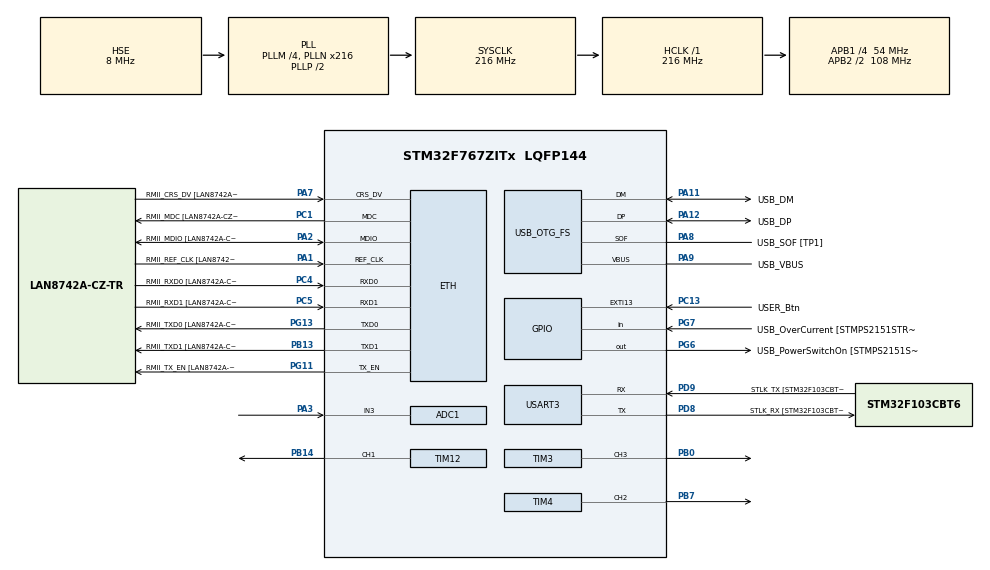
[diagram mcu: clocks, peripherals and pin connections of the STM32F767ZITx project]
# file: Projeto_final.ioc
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ADC1.Channel-0\#ChannelRegularConversion=ADC_CHANNEL_3
ADC1.NbrOfConversionFlag=1
ADC1.Rank-0\#ChannelRegularConversion=1
ADC1.SamplingTime-0\#ChannelRegularConversion=ADC_SAMPLETIME_3CYCLES
ADC1.master=1
CORTEX_M7.default_mode_Activation=1
ETH.MediaInterface=HAL_ETH_RMII_MODE
ETH.PHY_Name=LAN8742A_PHY_ADDRESS
ETH.PHY_Value=0
ETH.PhyAddress=0
Mcu.Family=STM32F7
Mcu.Name=STM32F767ZITx
Mcu.Package=LQFP144
NVIC.ADC_IRQn=true\:0\:0\:false\:false\:true\:true\:true\:true
NVIC.EXTI15_10_IRQn=true\:0\:0\:false\:false\:true\:true\:true\:true
NVIC.PriorityGroup=NVIC_PRIORITYGROUP_4
NVIC.TIM2_IRQn=true\:0\:0\:false\:false\:true\:true\:true\:true
NVIC.TIM3_IRQn=true\:0\:0\:false\:false\:true\:true\:true\:true
NVIC.TIM4_IRQn=true\:0\:0\:false\:false\:true\:true\:true\:true
NVIC.TIM6_DAC_IRQn=true\:0\:0\:false\:false\:true\:true\:true\:true
NVIC.TIM7_IRQn=true\:0\:0\:false\:false\:true\:true\:true\:true
NVIC.USART3_IRQn=true\:0\:0\:false\:false\:true\:true\:true\:true
PA1.GPIO_Label=RMII_REF_CLK [LAN8742A-CZ-TR_REFCLK0]
PA1.Mode=RMII
PA1.Signal=ETH_REF_CLK
PA10.GPIO_Label=USB_ID
PA10.Signal=USB_OTG_FS_ID
PA11.GPIO_Label=USB_DM
PA11.Mode=Device_Only
PA11.Signal=USB_OTG_FS_DM
PA12.GPIO_Label=USB_DP
PA12.Mode=Device_Only
PA12.Signal=USB_OTG_FS_DP
PA13.GPIO_Label=TMS
PA13.Mode=Serial_Wire
PA13.Signal=SYS_JTMS-SWDIO
PA14.GPIO_Label=TCK
PA14.Mode=Serial_Wire
PA14.Signal=SYS_JTCK-SWCLK
PA2.GPIO_Label=RMII_MDIO [LAN8742A-CZ-TR_MDIO]
PA2.Mode=RMII
PA2.Signal=ETH_MDIO
PA3.Signal=ADCx_IN3
PA7.GPIO_Label=RMII_CRS_DV [LAN8742A-CZ-TR_CRS_DV]
PA7.Mode=RMII
PA7.Signal=ETH_CRS_DV
PA8.GPIO_Label=USB_SOF [TP1]
PA8.Mode=Activate_SOF_FS
PA8.Signal=USB_OTG_FS_SOF
PA9.GPIO_Label=USB_VBUS
PA9.Mode=Activate_VBUS
PA9.Signal=USB_OTG_FS_VBUS
PB0.Signal=S_TIM3_CH3
PB13.GPIO_Label=RMII_TXD1 [LAN8742A-CZ-TR_TXD1]
PB13.Mode=RMII
PB13.Signal=ETH_TXD1
PB14.Signal=S_TIM12_CH1
PB3.GPIO_Label=SWO
PB3.Signal=SYS_JTDO-SWO
PB7.Signal=S_TIM4_CH2
PC1.GPIO_Label=RMII_MDC [LAN8742A-CZ-TR_MDC]
PC1.Mode=RMII
PC1.Signal=ETH_MDC
PC13.GPIO_Label=USER_Btn
PC13.Signal=GPXTI13
PC14/OSC32_IN.Mode=LSE-External-Oscillator
PC14/OSC32_IN.Signal=RCC_OSC32_IN
PC15/OSC32_OUT.Mode=LSE-External-Oscillator
PC15/OSC32_OUT.Signal=RCC_OSC32_OUT
PC4.GPIO_Label=RMII_RXD0 [LAN8742A-CZ-TR_RXD0]
PC4.Mode=RMII
PC4.Signal=ETH_RXD0
PC5.GPIO_Label=RMII_RXD1 [LAN8742A-CZ-TR_RXD1]
PC5.Mode=RMII
PC5.Signal=ETH_RXD1
PD8.GPIO_Label=STLK_RX [STM32F103CBT6_PA3]
PD8.Mode=Asynchronous
PD8.Signal=USART3_TX
PD9.GPIO_Label=STLK_TX [STM32F103CBT6_PA2]
PD9.Mode=Asynchronous
PD9.Signal=USART3_RX
PG11.GPIO_Label=RMII_TX_EN [LAN8742A-CZ-TR_TXEN]
PG11.Mode=RMII
PG11.Signal=ETH_TX_EN
PG13.GPIO_Label=RMII_TXD0 [LAN8742A-CZ-TR_TXD0]
PG13.Mode=RMII
PG13.Signal=ETH_TXD0
PG6.GPIO_Label=USB_PowerSwitchOn [STMPS2151STR_EN]
PG6.Signal=GPIO_Output
PG7.GPIO_Label=USB_OverCurrent [STMPS2151STR_FAULT]
PG7.Signal=GPIO_Input
PH0/OSC_IN.GPIO_Label=MCO [STM32F103CBT6_PA8]
PH0/OSC_IN.Mode=HSE-External-Clock-Source
PH0/OSC_IN.Signal=RCC_OSC_IN
PH1/OSC_OUT.Mode=HSE-External-Clock-Source
PH1/OSC_OUT.Signal=RCC_OSC_OUT
ProjectManager.HeapSize=0x200
ProjectManager.StackSize=0x400
ProjectManager.TargetToolchain=STM32CubeIDE
RCC.48MHZClocksFreq_Value=24000000
RCC.AHBFreq_Value=216000000
RCC.APB1CLKDivider=RCC_HCLK_DIV4
RCC.APB1Freq_Value=54000000
RCC.APB1TimFreq_Value=108000000
RCC.APB2CLKDivider=RCC_HCLK_DIV2
RCC.APB2Freq_Value=108000000
RCC.APB2TimFreq_Value=216000000
RCC.CortexFreq_Value=216000000
RCC.HCLKFreq_Value=216000000
RCC.HSE_VALUE=8000000
RCC.HSI_VALUE=16000000
RCC.PLLM=4
RCC.PLLMUL=RCC_PLL_MUL9
RCC.PLLN=216
RCC.PLLQ=9
RCC.PRESCALERUSB=RCC_USBCLKSOURCE_PLL_DIV1_5
RCC.SYSCLKFreq_VALUE=216000000
RCC.SYSCLKSource=RCC_SYSCLKSOURCE_PLLCLK
RCC.SYSCLKSourceVirtual=RCC_SYSCLKSOURCE_PLLCLK
RCC.USBFreq_Value=48000000
RCC.VCOOutputFreq_Value=432000000
SH.ADCx_IN3.0=ADC1_IN3,IN3
SH.S_TIM12_CH1.0=TIM12_CH1,PWM Generation1 CH1
SH.S_TIM3_CH3.0=TIM3_CH3,PWM Generation3 CH3
SH.S_TIM4_CH2.0=TIM4_CH2,PWM Generation2 CH2
TIM12.Channel-PWM\ Generation1\ CH1=TIM_CHANNEL_1
TIM12.Period=999
TIM12.Prescaler=215
TIM2.Period=999
TIM2.Prescaler=215
TIM3.Channel-PWM\ Generation3\ CH3=TIM_CHANNEL_3
TIM3.Period=999
TIM3.Prescaler=215
TIM4.Channel-PWM\ Generation2\ CH2=TIM_CHANNEL_2
TIM4.Period=999
TIM4.Prescaler=215
TIM6.Period=999
TIM6.Prescaler=108
TIM7.Period=999
TIM7.Prescaler=215
USART3.VirtualMode-Asynchronous=VM_ASYNC
USB_OTG_FS.VirtualMode=Device_Only
VP_TIM2_VS_ClockSourceINT.Mode=Internal
VP_TIM3_VS_ClockSourceINT.Mode=Internal
VP_TIM4_VS_ClockSourceINT.Mode=Internal
VP_TIM6_VS_ClockSourceINT.Mode=Enable_Timer
VP_TIM7_VS_ClockSourceINT.Mode=Enable_Timer
board=NUCLEO-F767ZI

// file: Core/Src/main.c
/* USER CODE BEGIN Header */
/* USER CODE END Header */
#include "main.h"
#include "string.h"

/* USER CODE BEGIN Includes */
#include <stdio.h>
#include "Bsp.h"
#include "Button.h"
#include "LedPwm.h"
#include "Sampler.h"
#include "SerialCmd.h"
/* USER CODE END Includes */

#if defined ( __ICCARM__ ) /*!< IAR Compiler */
#pragma location=0x2007c000
ETH_DMADescTypeDef  DMARxDscrTab[ETH_RX_DESC_CNT]; /* Ethernet Rx DMA Descriptors */
#pragma location=0x2007c0a0
ETH_DMADescTypeDef  DMATxDscrTab[ETH_TX_DESC_CNT]; /* Ethernet Tx DMA Descriptors */

#elif defined ( __CC_ARM )  /* MDK ARM Compiler */

__attribute__((at(0x2007c000))) ETH_DMADescTypeDef  DMARxDscrTab[ETH_RX_DESC_CNT]; /* Ethernet Rx DMA Descriptors */
__attribute__((at(0x2007c0a0))) ETH_DMADescTypeDef  DMATxDscrTab[ETH_TX_DESC_CNT]; /* Ethernet Tx DMA Descriptors */

#elif defined ( __GNUC__ ) /* GNU Compiler */

ETH_DMADescTypeDef DMARxDscrTab[ETH_RX_DESC_CNT] __attribute__((section(".RxDecripSection"))); /* Ethernet Rx DMA Descriptors */
ETH_DMADescTypeDef DMATxDscrTab[ETH_TX_DESC_CNT] __attribute__((section(".TxDecripSection")));   /* Ethernet Tx DMA Descriptors */
#endif

ETH_TxPacketConfig TxConfig;

ADC_HandleTypeDef hadc1;

ETH_HandleTypeDef heth;

TIM_HandleTypeDef htim2;
TIM_HandleTypeDef htim3;
TIM_HandleTypeDef htim4;
TIM_HandleTypeDef htim6;
TIM_HandleTypeDef htim7;
TIM_HandleTypeDef htim12;

UART_HandleTypeDef huart3;

PCD_HandleTypeDef hpcd_USB_OTG_FS;

void SystemClock_Config(void);
static void MPU_Config(void);
static void MX_GPIO_Init(void);
static void MX_ETH_Init(void);
static void MX_USART3_UART_Init(void);
static void MX_USB_OTG_FS_PCD_Init(void);
static void MX_ADC1_Init(void);
static void MX_TIM2_Init(void);
static void MX_TIM3_Init(void);
static void MX_TIM4_Init(void);
static void MX_TIM6_Init(void);
static void MX_TIM7_Init(void);
static void MX_TIM12_Init(void);

int main(void)
{

  /* MPU Configuration--------------------------------------------------------*/
  MPU_Config();

  /* MCU Configuration--------------------------------------------------------*/

  /* Reset of all peripherals, Initializes the Flash interface and the Systick. */
  HAL_Init();

  /* Configure the system clock */
  SystemClock_Config();

  /* Initialize all configured peripherals */
  MX_GPIO_Init();
  MX_ETH_Init();
  MX_USART3_UART_Init();
  MX_USB_OTG_FS_PCD_Init();
  MX_ADC1_Init();
  MX_TIM2_Init();
  MX_TIM3_Init();
  MX_TIM4_Init();
  MX_TIM6_Init();
  MX_TIM7_Init();
  MX_TIM12_Init();
  /* USER CODE BEGIN 2 */
  Bsp_Init();
  Button_Init();
  LedPwm_Init();
  Sampler_Init();
  SerialCmd_Init();
  Bsp_StartSamplingTimer();
  /* USER CODE END 2 */

  /* Infinite loop */
  /* USER CODE BEGIN WHILE */
  uint8_t rx_byte;
  char msg[128];
  int len;
  while (1)
  {
    /* USER CODE END WHILE */

    /* USER CODE BEGIN 3 */
    if (Bsp_IsSamplingPending()) {
        Bsp_ClearSamplingPending();
        uint32_t adc_val = Bsp_ReadAdc();
        Sampler_ProcessSample(adc_val);
    }

    if (Bsp_IsDebouncePending()) {
        Bsp_ClearDebouncePending();
        Button_HandleDebounce();
    }

    if (Bsp_GetRxByte(&rx_byte)) {
        SerialCmd_HandleByte(rx_byte);
    }

    if (!Button_IsFrozen()) {
        uint32_t percent = Sampler_GetPercent();
        uint8_t selected_led = SerialCmd_GetSelectedLed();
        LedPwm_SetSelected(percent, selected_led);
    }

    if (Sampler_IsNewAverageAvailable()) {
        Sampler_ClearNewAverage();
        static uint8_t avg_counter = 0U;
        avg_counter++;
        if (avg_counter >= 2U) {
            avg_counter = 0U;
            const char *state_str = Button_IsFrozen() ? "OFF" : "ON";
            len = snprintf(msg, sizeof(msg),
                           "VALUE: %lu%% || LED1: %lu%% aceso || LED2: %lu%% aceso || LED3: %lu%% aceso || STATE: %s\r\n",
                           (unsigned long)Sampler_GetPercent(),
                           (unsigned long)LedPwm_GetDuty(1U),
                           (unsigned long)LedPwm_GetDuty(2U),
                           (unsigned long)LedPwm_GetDuty(3U),
                           state_str);
            Bsp_Print(msg, (uint16_t)len);
        }
    }
  }
  /* USER CODE END 3 */
}

void SystemClock_Config(void)
{
  RCC_OscInitTypeDef RCC_OscInitStruct = {0};
  RCC_ClkInitTypeDef RCC_ClkInitStruct = {0};

  /** Configure LSE Drive Capability
  */
  HAL_PWR_EnableBkUpAccess();

  /** Configure the main internal regulator output voltage
  */
  __HAL_RCC_PWR_CLK_ENABLE();
  __HAL_PWR_VOLTAGESCALING_CONFIG(PWR_REGULATOR_VOLTAGE_SCALE1);

  /** Initializes the RCC Oscillators according to the specified parameters
  * in the RCC_OscInitTypeDef structure.
  */
  RCC_OscInitStruct.OscillatorType = RCC_OSCILLATORTYPE_HSE;
  RCC_OscInitStruct.HSEState = RCC_HSE_BYPASS;
  RCC_OscInitStruct.PLL.PLLState = RCC_PLL_ON;
  RCC_OscInitStruct.PLL.PLLSource = RCC_PLLSOURCE_HSE;
  RCC_OscInitStruct.PLL.PLLM = 4;
  RCC_OscInitStruct.PLL.PLLN = 216;
  RCC_OscInitStruct.PLL.PLLP = RCC_PLLP_DIV2;
  RCC_OscInitStruct.PLL.PLLQ = 9;
  RCC_OscInitStruct.PLL.PLLR = 2;
  if (HAL_RCC_OscConfig(&RCC_OscInitStruct) != HAL_OK)
  {
    Error_Handler();
  }

  /** Activate the Over-Drive mode
  */
  if (HAL_PWREx_EnableOverDrive() != HAL_OK)
  {
    Error_Handler();
  }

  /** Initializes the CPU, AHB and APB buses clocks
  */
  RCC_ClkInitStruct.ClockType = RCC_CLOCKTYPE_HCLK|RCC_CLOCKTYPE_SYSCLK
                              |RCC_CLOCKTYPE_PCLK1|RCC_CLOCKTYPE_PCLK2;
  RCC_ClkInitStruct.SYSCLKSource = RCC_SYSCLKSOURCE_PLLCLK;
  RCC_ClkInitStruct.AHBCLKDivider = RCC_SYSCLK_DIV1;
  RCC_ClkInitStruct.APB1CLKDivider = RCC_HCLK_DIV4;
  RCC_ClkInitStruct.APB2CLKDivider = RCC_HCLK_DIV2;

  if (HAL_RCC_ClockConfig(&RCC_ClkInitStruct, FLASH_LATENCY_7) != HAL_OK)
  {
    Error_Handler();
  }
}

static void MX_ADC1_Init(void)
{

  ADC_ChannelConfTypeDef sConfig = {0};

  /** Configure the global features of the ADC (Clock, Resolution, Data Alignment and number of conversion)
  */
  hadc1.Instance = ADC1;
  hadc1.Init.ClockPrescaler = ADC_CLOCK_SYNC_PCLK_DIV4;
  hadc1.Init.Resolution = ADC_RESOLUTION_12B;
  hadc1.Init.ScanConvMode = ADC_SCAN_DISABLE;
  hadc1.Init.ContinuousConvMode = DISABLE;
  hadc1.Init.DiscontinuousConvMode = DISABLE;
  hadc1.Init.ExternalTrigConvEdge = ADC_EXTERNALTRIGCONVEDGE_NONE;
  hadc1.Init.ExternalTrigConv = ADC_SOFTWARE_START;
  hadc1.Init.DataAlign = ADC_DATAALIGN_RIGHT;
  hadc1.Init.NbrOfConversion = 1;
  hadc1.Init.DMAContinuousRequests = DISABLE;
  hadc1.Init.EOCSelection = ADC_EOC_SINGLE_CONV;
  if (HAL_ADC_Init(&hadc1) != HAL_OK)
  {
    Error_Handler();
  }

  /** Configure for the selected ADC regular channel its corresponding rank in the sequencer and its sample time.
  */
  sConfig.Channel = ADC_CHANNEL_3;
  sConfig.Rank = ADC_REGULAR_RANK_1;
  sConfig.SamplingTime = ADC_SAMPLETIME_3CYCLES;
  if (HAL_ADC_ConfigChannel(&hadc1, &sConfig) != HAL_OK)
  {
    Error_Handler();
  }

}

static void MX_ETH_Init(void)
{

   static uint8_t MACAddr[6];

  heth.Instance = ETH;
  MACAddr[0] = 0x00;
  MACAddr[1] = 0x80;
  MACAddr[2] = 0xE1;
  MACAddr[3] = 0x00;
  MACAddr[4] = 0x00;
  MACAddr[5] = 0x00;
  heth.Init.MACAddr = &MACAddr[0];
  heth.Init.MediaInterface = HAL_ETH_RMII_MODE;
  heth.Init.TxDesc = DMATxDscrTab;
  heth.Init.RxDesc = DMARxDscrTab;
  heth.Init.RxBuffLen = 1524;

  if (HAL_ETH_Init(&heth) != HAL_OK)
  {
    Error_Handler();
  }

  memset(&TxConfig, 0 , sizeof(ETH_TxPacketConfig));
  TxConfig.Attributes = ETH_TX_PACKETS_FEATURES_CSUM | ETH_TX_PACKETS_FEATURES_CRCPAD;
  TxConfig.ChecksumCtrl = ETH_CHECKSUM_IPHDR_PAYLOAD_INSERT_PHDR_CALC;
  TxConfig.CRCPadCtrl = ETH_CRC_PAD_INSERT;

}

static void MX_TIM2_Init(void)
{

  TIM_ClockConfigTypeDef sClockSourceConfig = {0};
  TIM_MasterConfigTypeDef sMasterConfig = {0};

  htim2.Instance = TIM2;
  htim2.Init.Prescaler = 215;
  htim2.Init.CounterMode = TIM_COUNTERMODE_UP;
  htim2.Init.Period = 999;
  htim2.Init.ClockDivision = TIM_CLOCKDIVISION_DIV1;
  htim2.Init.AutoReloadPreload = TIM_AUTORELOAD_PRELOAD_DISABLE;
  if (HAL_TIM_Base_Init(&htim2) != HAL_OK)
  {
    Error_Handler();
  }
  sClockSourceConfig.ClockSource = TIM_CLOCKSOURCE_INTERNAL;
  if (HAL_TIM_ConfigClockSource(&htim2, &sClockSourceConfig) != HAL_OK)
  {
    Error_Handler();
  }
  sMasterConfig.MasterOutputTrigger = TIM_TRGO_RESET;
  sMasterConfig.MasterSlaveMode = TIM_MASTERSLAVEMODE_DISABLE;
  if (HAL_TIMEx_MasterConfigSynchronization(&htim2, &sMasterConfig) != HAL_OK)
  {
    Error_Handler();
  }

}

static void MX_TIM3_Init(void)
{

  TIM_ClockConfigTypeDef sClockSourceConfig = {0};
  TIM_MasterConfigTypeDef sMasterConfig = {0};
  TIM_OC_InitTypeDef sConfigOC = {0};

  htim3.Instance = TIM3;
  htim3.Init.Prescaler = 215;
  htim3.Init.CounterMode = TIM_COUNTERMODE_UP;
  htim3.Init.Period = 999;
  htim3.Init.ClockDivision = TIM_CLOCKDIVISION_DIV1;
  htim3.Init.AutoReloadPreload = TIM_AUTORELOAD_PRELOAD_DISABLE;
  if (HAL_TIM_Base_Init(&htim3) != HAL_OK)
  {
    Error_Handler();
  }
  sClockSourceConfig.ClockSource = TIM_CLOCKSOURCE_INTERNAL;
  if (HAL_TIM_ConfigClockSource(&htim3, &sClockSourceConfig) != HAL_OK)
  {
    Error_Handler();
  }
  if (HAL_TIM_PWM_Init(&htim3) != HAL_OK)
  {
    Error_Handler();
  }
  sMasterConfig.MasterOutputTrigger = TIM_TRGO_RESET;
  sMasterConfig.MasterSlaveMode = TIM_MASTERSLAVEMODE_DISABLE;
  if (HAL_TIMEx_MasterConfigSynchronization(&htim3, &sMasterConfig) != HAL_OK)
  {
    Error_Handler();
  }
  sConfigOC.OCMode = TIM_OCMODE_PWM1;
  sConfigOC.Pulse = 0;
  sConfigOC.OCPolarity = TIM_OCPOLARITY_HIGH;
  sConfigOC.OCFastMode = TIM_OCFAST_DISABLE;
  if (HAL_TIM_PWM_ConfigChannel(&htim3, &sConfigOC, TIM_CHANNEL_3) != HAL_OK)
  {
    Error_Handler();
  }
  HAL_TIM_MspPostInit(&htim3);

}

static void MX_TIM4_Init(void)
{

  TIM_ClockConfigTypeDef sClockSourceConfig = {0};
  TIM_MasterConfigTypeDef sMasterConfig = {0};
  TIM_OC_InitTypeDef sConfigOC = {0};

  htim4.Instance = TIM4;
  htim4.Init.Prescaler = 215;
  htim4.Init.CounterMode = TIM_COUNTERMODE_UP;
  htim4.Init.Period = 999;
  htim4.Init.ClockDivision = TIM_CLOCKDIVISION_DIV1;
  htim4.Init.AutoReloadPreload = TIM_AUTORELOAD_PRELOAD_DISABLE;
  if (HAL_TIM_Base_Init(&htim4) != HAL_OK)
  {
    Error_Handler();
  }
  sClockSourceConfig.ClockSource = TIM_CLOCKSOURCE_INTERNAL;
  if (HAL_TIM_ConfigClockSource(&htim4, &sClockSourceConfig) != HAL_OK)
  {
    Error_Handler();
  }
  if (HAL_TIM_PWM_Init(&htim4) != HAL_OK)
  {
    Error_Handler();
  }
  sMasterConfig.MasterOutputTrigger = TIM_TRGO_RESET;
  sMasterConfig.MasterSlaveMode = TIM_MASTERSLAVEMODE_DISABLE;
  if (HAL_TIMEx_MasterConfigSynchronization(&htim4, &sMasterConfig) != HAL_OK)
  {
    Error_Handler();
  }
  sConfigOC.OCMode = TIM_OCMODE_PWM1;
  sConfigOC.Pulse = 0;
  sConfigOC.OCPolarity = TIM_OCPOLARITY_HIGH;
  sConfigOC.OCFastMode = TIM_OCFAST_DISABLE;
  if (HAL_TIM_PWM_ConfigChannel(&htim4, &sConfigOC, TIM_CHANNEL_2) != HAL_OK)
  {
    Error_Handler();
  }
  HAL_TIM_MspPostInit(&htim4);

}

static void MX_TIM6_Init(void)
{

  TIM_MasterConfigTypeDef sMasterConfig = {0};

  htim6.Instance = TIM6;
  htim6.Init.Prescaler = 108;
  htim6.Init.CounterMode = TIM_COUNTERMODE_UP;
  htim6.Init.Period = 999;
  htim6.Init.AutoReloadPreload = TIM_AUTORELOAD_PRELOAD_DISABLE;
  if (HAL_TIM_Base_Init(&htim6) != HAL_OK)
  {
    Error_Handler();
  }
  sMasterConfig.MasterOutputTrigger = TIM_TRGO_RESET;
  sMasterConfig.MasterSlaveMode = TIM_MASTERSLAVEMODE_DISABLE;
  if (HAL_TIMEx_MasterConfigSynchronization(&htim6, &sMasterConfig) != HAL_OK)
  {
    Error_Handler();
  }

}

static void MX_TIM7_Init(void)
{

  TIM_MasterConfigTypeDef sMasterConfig = {0};

  htim7.Instance = TIM7;
  htim7.Init.Prescaler = 215;
  htim7.Init.CounterMode = TIM_COUNTERMODE_UP;
  htim7.Init.Period = 999;
  htim7.Init.AutoReloadPreload = TIM_AUTORELOAD_PRELOAD_DISABLE;
  if (HAL_TIM_Base_Init(&htim7) != HAL_OK)
  {
    Error_Handler();
  }
  sMasterConfig.MasterOutputTrigger = TIM_TRGO_RESET;
  sMasterConfig.MasterSlaveMode = TIM_MASTERSLAVEMODE_DISABLE;
  if (HAL_TIMEx_MasterConfigSynchronization(&htim7, &sMasterConfig) != HAL_OK)
  {
    Error_Handler();
  }

}

static void MX_TIM12_Init(void)
{

  TIM_OC_InitTypeDef sConfigOC = {0};

  htim12.Instance = TIM12;
  htim12.Init.Prescaler = 215;
  htim12.Init.CounterMode = TIM_COUNTERMODE_UP;
  htim12.Init.Period = 999;
  htim12.Init.ClockDivision = TIM_CLOCKDIVISION_DIV1;
  htim12.Init.AutoReloadPreload = TIM_AUTORELOAD_PRELOAD_DISABLE;
  if (HAL_TIM_PWM_Init(&htim12) != HAL_OK)
  {
    Error_Handler();
  }
  sConfigOC.OCMode = TIM_OCMODE_PWM1;
  sConfigOC.Pulse = 0;
  sConfigOC.OCPolarity = TIM_OCPOLARITY_HIGH;
  sConfigOC.OCFastMode = TIM_OCFAST_DISABLE;
  if (HAL_TIM_PWM_ConfigChannel(&htim12, &sConfigOC, TIM_CHANNEL_1) != HAL_OK)
  {
    Error_Handler();
  }
  HAL_TIM_MspPostInit(&htim12);

}

static void MX_USART3_UART_Init(void)
{

  huart3.Instance = USART3;
  huart3.Init.BaudRate = 115200;
  huart3.Init.WordLength = UART_WORDLENGTH_8B;
  huart3.Init.StopBits = UART_STOPBITS_1;
  huart3.Init.Parity = UART_PARITY_NONE;
  huart3.Init.Mode = UART_MODE_TX_RX;
  huart3.Init.HwFlowCtl = UART_HWCONTROL_NONE;
  huart3.Init.OverSampling = UART_OVERSAMPLING_16;
  huart3.Init.OneBitSampling = UART_ONE_BIT_SAMPLE_DISABLE;
  huart3.AdvancedInit.AdvFeatureInit = UART_ADVFEATURE_NO_INIT;
  if (HAL_UART_Init(&huart3) != HAL_OK)
  {
    Error_Handler();
  }

}

static void MX_USB_OTG_FS_PCD_Init(void)
{

  hpcd_USB_OTG_FS.Instance = USB_OTG_FS;
  hpcd_USB_OTG_FS.Init.dev_endpoints = 6;
  hpcd_USB_OTG_FS.Init.speed = PCD_SPEED_FULL;
  hpcd_USB_OTG_FS.Init.dma_enable = DISABLE;
  hpcd_USB_OTG_FS.Init.phy_itface = PCD_PHY_EMBEDDED;
  hpcd_USB_OTG_FS.Init.Sof_enable = ENABLE;
  hpcd_USB_OTG_FS.Init.low_power_enable = DISABLE;
  hpcd_USB_OTG_FS.Init.lpm_enable = DISABLE;
  hpcd_USB_OTG_FS.Init.vbus_sensing_enable = ENABLE;
  hpcd_USB_OTG_FS.Init.use_dedicated_ep1 = DISABLE;
  if (HAL_PCD_Init(&hpcd_USB_OTG_FS) != HAL_OK)
  {
    Error_Handler();
  }

}

static void MX_GPIO_Init(void)
{
  GPIO_InitTypeDef GPIO_InitStruct = {0};

  /* GPIO Ports Clock Enable */
  __HAL_RCC_GPIOC_CLK_ENABLE();
  __HAL_RCC_GPIOH_CLK_ENABLE();
  __HAL_RCC_GPIOA_CLK_ENABLE();
  __HAL_RCC_GPIOB_CLK_ENABLE();
  __HAL_RCC_GPIOD_CLK_ENABLE();
  __HAL_RCC_GPIOG_CLK_ENABLE();

  /*Configure GPIO pin Output Level */
  HAL_GPIO_WritePin(USB_PowerSwitchOn_GPIO_Port, USB_PowerSwitchOn_Pin, GPIO_PIN_RESET);

  /*Configure GPIO pin : USER_Btn_Pin */
  GPIO_InitStruct.Pin = USER_Btn_Pin;
  GPIO_InitStruct.Mode = GPIO_MODE_IT_RISING;
  GPIO_InitStruct.Pull = GPIO_NOPULL;
  HAL_GPIO_Init(USER_Btn_GPIO_Port, &GPIO_InitStruct);

  /*Configure GPIO pin : USB_PowerSwitchOn_Pin */
  GPIO_InitStruct.Pin = USB_PowerSwitchOn_Pin;
  GPIO_InitStruct.Mode = GPIO_MODE_OUTPUT_PP;
  GPIO_InitStruct.Pull = GPIO_NOPULL;
  GPIO_InitStruct.Speed = GPIO_SPEED_FREQ_LOW;
  HAL_GPIO_Init(USB_PowerSwitchOn_GPIO_Port, &GPIO_InitStruct);

  /*Configure GPIO pin : USB_OverCurrent_Pin */
  GPIO_InitStruct.Pin = USB_OverCurrent_Pin;
  GPIO_InitStruct.Mode = GPIO_MODE_INPUT;
  GPIO_InitStruct.Pull = GPIO_NOPULL;
  HAL_GPIO_Init(USB_OverCurrent_GPIO_Port, &GPIO_InitStruct);

  /* EXTI interrupt init*/
  HAL_NVIC_SetPriority(EXTI15_10_IRQn, 0, 0);
  HAL_NVIC_EnableIRQ(EXTI15_10_IRQn);

}

 /* MPU Configuration */

void MPU_Config(void)
{
  MPU_Region_InitTypeDef MPU_InitStruct = {0};

  /* Disables the MPU */
  HAL_MPU_Disable();

  /** Initializes and configures the Region and the memory to be protected
  */
  MPU_InitStruct.Enable = MPU_REGION_ENABLE;
  MPU_InitStruct.Number = MPU_REGION_NUMBER0;
  MPU_InitStruct.BaseAddress = 0x0;
  MPU_InitStruct.Size = MPU_REGION_SIZE_4GB;
  MPU_InitStruct.SubRegionDisable = 0x87;
  MPU_InitStruct.TypeExtField = MPU_TEX_LEVEL0;
  MPU_InitStruct.AccessPermission = MPU_REGION_NO_ACCESS;
  MPU_InitStruct.DisableExec = MPU_INSTRUCTION_ACCESS_DISABLE;
  MPU_InitStruct.IsShareable = MPU_ACCESS_SHAREABLE;
  MPU_InitStruct.IsCacheable = MPU_ACCESS_NOT_CACHEABLE;
  MPU_InitStruct.IsBufferable = MPU_ACCESS_NOT_BUFFERABLE;

  HAL_MPU_ConfigRegion(&MPU_InitStruct);
  /* Enables the MPU */
  HAL_MPU_Enable(MPU_PRIVILEGED_DEFAULT);

}

void Error_Handler(void)
{
}
